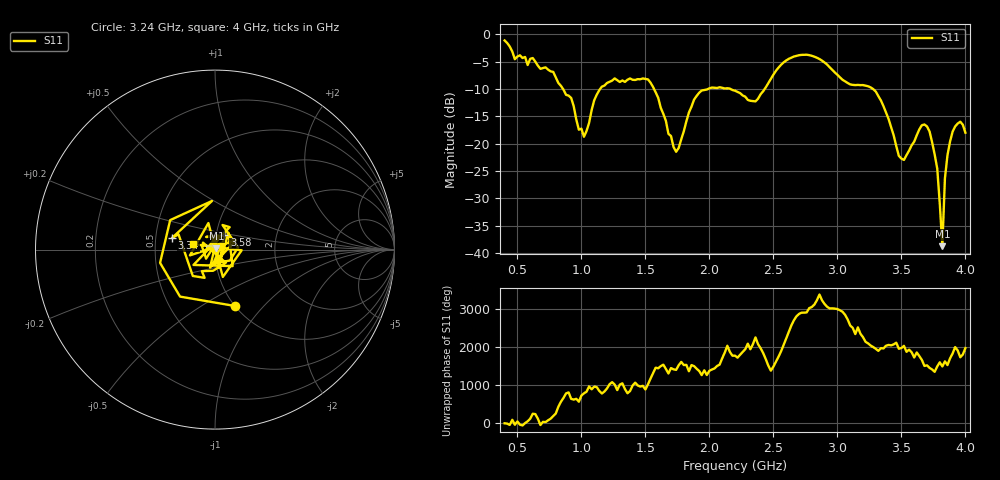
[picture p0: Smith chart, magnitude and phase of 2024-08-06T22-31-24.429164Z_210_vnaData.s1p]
!Created with skrf (http://scikit-rf.org).
# Hz S RI R 50.0
!freq ReS11 ImS11
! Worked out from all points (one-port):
!   181 points, 400 MHz to 4 GHz, reference 50 ohm
!   lowest |S11| = -38.8 dB at 3.82 GHz (marker M1), VSWR 1.02, Z = 50.8 + j0.809 ohm
!   |S11| at or under -10 dB: 856.3 MHz to 1.147 GHz (290.5 MHz wide, 29 % of centre); 1.567 GHz to 1.99 GHz (423.1 MHz wide, 23.8 % of centre); 3.278 GHz to end of sweep (the widest 3 of 4)
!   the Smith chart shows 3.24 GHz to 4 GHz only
!   S11 on the Smith chart (normalised r, x): 3.24 GHz: 1.00, -0.71; 3.34 GHz: 0.61, +0.08; 3.58 GHz: 1.10, +0.18; 4 GHz: 0.78, +0.05
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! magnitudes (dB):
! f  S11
! 400 MHz  -1.1
! 480 MHz  -4.6
! 620 MHz  -4.4
! 860 MHz  -10.1
! 1.02 GHz  -18.8
! 1.14 GHz  -10.2
! 1.3 GHz  -8.7
! 1.52 GHz  -8.3
! 1.72 GHz  -20.6
! 1.76 GHz  -20.8
! 1.92 GHz  -10.7
! 2.2 GHz  -10.3
! 2.36 GHz  -12.3
! 2.66 GHz  -4.1
! 3.1 GHz  -9.2
! 3.24 GHz  -9.5
! 3.34 GHz  -12.1
! 3.48 GHz  -22.3
! 3.56 GHz  -21.3
! 3.58 GHz  -20.3
! 3.66 GHz  -16.6
! 3.72 GHz  -17.8
! 3.78 GHz  -24.6
! 3.82 GHz  -38.8
! 3.84 GHz  -26.4
! 3.88 GHz  -19.6
! 3.96 GHz  -16.0
! 4 GHz  -18.0
